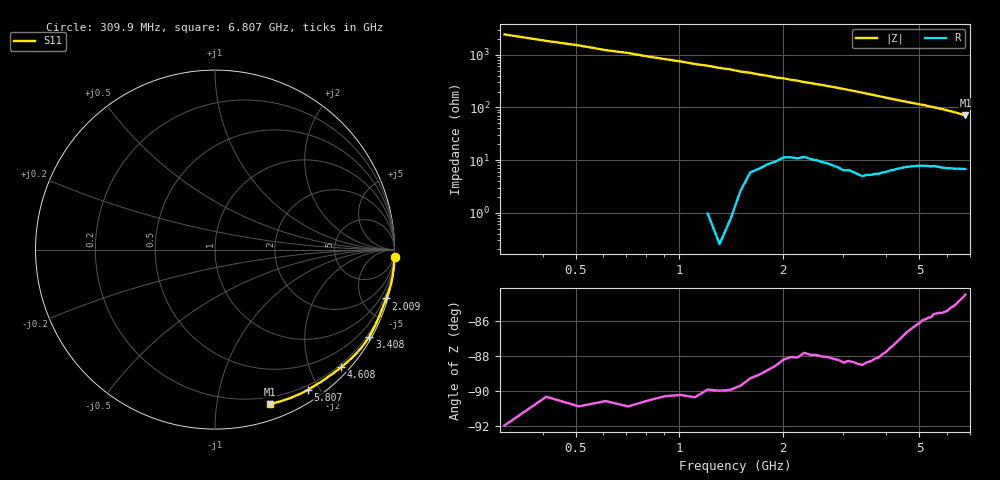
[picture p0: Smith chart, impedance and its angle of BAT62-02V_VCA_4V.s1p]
! Infineon Technologies  Discrete & RF Semiconductors
! BAT62-02V
! VCA = 4 V
! One-Port S-Parameters
# Hz  S  MA  R  50
!f  S11
!Hz  Mag  Ang
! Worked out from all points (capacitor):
!   66 points, 309.9 MHz to 6.807 GHz, reference 50 ohm
!   read as one part to ground: C = 212 fF near 309.9 MHz
!   lowest |Z| = 70.7 ohm at 6.807 GHz (marker M1)
!   S11 on the Smith chart (normalised r, x): 309.9 MHz: -2, -49; 2.009 GHz: 0.22, -7.15; 3.408 GHz: 0.10, -3.81; 4.608 GHz: 0.15, -2.53; 5.807 GHz: 0.14, -1.86; 6.807 GHz: 0.14, -1.41
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3.0985e8  1.001 -2.4
7.0965e8  1.001 -5.3
1.10945e9  1.001 -8.6
1.2094e9  0.9998 -9.2
1.30935e9  0.9999 -10.2
1.4093e9  0.9997 -10.9
1.50925e9  0.9989 -11.9
1.6092e9  0.9972 -12.6
1.70915e9  0.9962 -13.6
1.8091e9  0.9948 -14.3
1.90905e9  0.9933 -15.4
2.009e9  0.9915 -15.9
2.10895e9  0.9902 -17.0
2.2089e9  0.9899 -17.7
2.30885e9  0.9878 -18.8
2.6087e9  0.9876 -21.3
2.8086e9  0.9875 -23.1
3.0085e9  0.9881 -25.1
3.4083e9  0.9873 -29.4
3.6082e9  0.9846 -31.7
4.008e9  0.9771 -36.3
4.4078e9  0.9663 -40.9
4.6077e9  0.9607 -43.0
5.2074e9  0.9474 -49.3
5.8071e9  0.9375 -56.4
6.007e9  0.9343 -59.0
6.4068e9  0.9247 -64.5
6.8066e9  0.9135 -70.5
